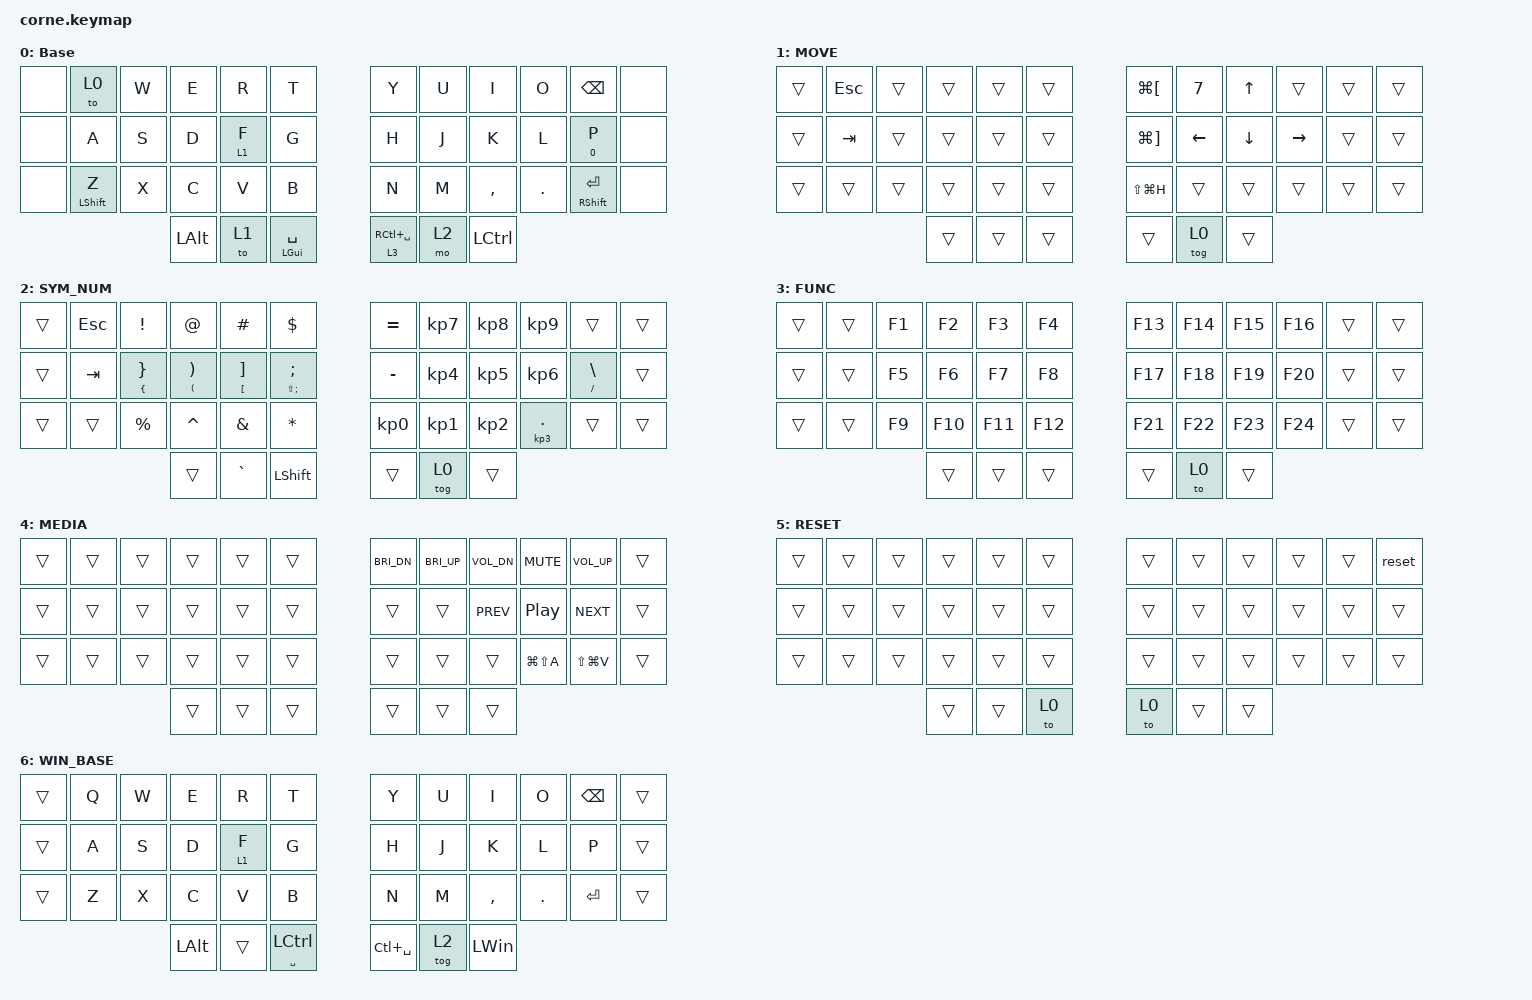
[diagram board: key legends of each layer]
/*
 * Copyright (c) 2020 The ZMK Contributors
 *
 * SPDX-License-Identifier: MIT
 */

#include <behaviors.dtsi>
#include <dt-bindings/zmk/keys.h>

/ {
    behaviors {
        TT: TT {
            compatible = "zmk,behavior-hold-tap";
            label = "TT";
            bindings =
                <&kp>,
                <&kp>;

            #binding-cells = <2>;
            hold-trigger-on-release;
            retro-tap;
            flavor = "tap-preferred";
        };
    };

    keymap {
        compatible = "zmk,keymap";

        Base {
            // -----------------------------------------------------------------------------------------
            // |  TAB |  Q  |  W  |  E  |  R  |  T  |   |  Y  |  U   |  I  |  O  |  P  | BKSP |
            // | CTRL |  A  |  S  |  D  |  F  |  G  |   |  H  |  J   |  K  |  L  |  ;  |  '   |
            // | SHFT |  Z  |  X  |  C  |  V  |  B  |   |  N  |  M   |  ,  |  .  |  /  | ESC  |
            //                    | GUI | LWR | SPC |   | ENT | RSE  | ALT |

            bindings = <
&none             &to 0  &kp W         &kp E    &kp R               &kp T              &kp Y  &kp U      &kp I    &kp O          &kp BACKSPACE  &none
&none             &kp A  &kp S         &kp D  &lt 1 F               &kp G              &kp H  &kp J      &kp K    &kp L                &mt 0 P  &none
&none  &mt LEFT_SHIFT Z  &kp X         &kp C    &kp V               &kp B              &kp N  &kp M  &kp COMMA  &kp DOT  &mt RIGHT_SHIFT ENTER  &none
                                &kp LEFT_ALT    &to 1  &mt LEFT_GUI SPACE    &lt 3 RC(SPACE)  &mo 2  &kp LCTRL
            >;
        };

        MOVE {
            // -----------------------------------------------------------------------------------------
            // |  TAB |  1  |  2  |  3  |  4  |  5  |   |  6  |  7  |  8  |  9  |  0  | BKSP |
            // | BTCLR| BT1 | BT2 | BT3 | BT4 | BT5 |   | LFT | DWN |  UP | RGT |     |      |
            // | SHFT |     |     |     |     |     |   |     |     |     |     |     |      |
            //                    | GUI |     | SPC |   | ENT |     | ALT |

            bindings = <
&trans  &kp ESC  &trans  &trans  &trans  &trans     &kp LG(LEFT_BRACKET)    &kp N7  &kp UP_ARROW     &trans  &trans  &trans
&trans  &kp TAB  &trans  &trans  &trans  &trans    &kp LG(RIGHT_BRACKET)  &kp LEFT      &kp DOWN  &kp RIGHT  &trans  &trans
&trans   &trans  &trans  &trans  &trans  &trans            &kp LS(LG(H))    &trans        &trans     &trans  &trans  &trans
                         &trans  &trans  &trans                   &trans    &tog 0        &trans
            >;
        };

        SYM_NUM {
            // -----------------------------------------------------------------------------------------
            // |  TAB |  !  |  @  |  #  |  $  |  %  |   |  ^  |  &  |  *  |  (  |  )  | BKSP |
            // | CTRL |     |     |     |     |     |   |  -  |  =  |  [  |  ]  |  \  |  `   |
            // | SHFT |     |     |     |     |     |   |  _  |  +  |  {  |  }  | "|" |  ~   |
            //                    | GUI |     | SPC |   | ENT |     | ALT |

            bindings = <
&trans  &kp ESC                    &kp EXCL                                  &kp AT                        &kp HASH         &kp DOLLAR    &kp EQUAL  &kp KP_NUMBER_7  &kp KP_NUMBER_8         &kp KP_NUMBER_9               &trans  &trans
&trans  &kp TAB  &TT LEFT_BRACE RIGHT_BRACE  &TT LEFT_PARENTHESIS RIGHT_PARENTHESIS  &TT LEFT_BRACKET RIGHT_BRACKET  &TT LS(SEMI) SEMI    &kp MINUS  &kp KP_NUMBER_4  &kp KP_NUMBER_5         &kp KP_NUMBER_6  &TT SLASH BACKSLASH  &trans
&trans   &trans                 &kp PERCENT                               &kp CARET                        &kp AMPS          &kp ASTRK    &kp KP_N0  &kp KP_NUMBER_1  &kp KP_NUMBER_2  &TT KP_NUMBER_3 PERIOD               &trans  &trans
                                                                             &trans                       &kp GRAVE     &kp LEFT_SHIFT       &trans           &tog 0           &trans
            >;
        };

        FUNC {
            bindings = <
&trans  &trans  &kp F1   &kp F2   &kp F3   &kp F4    &kp F13  &kp F14  &kp F15  &kp F16  &trans  &trans
&trans  &trans  &kp F5   &kp F6   &kp F7   &kp F8    &kp F17  &kp F18  &kp F19  &kp F20  &trans  &trans
&trans  &trans  &kp F9  &kp F10  &kp F11  &kp F12    &kp F21  &kp F22  &kp F23  &kp F24  &trans  &trans
                         &trans   &trans   &trans     &trans    &to 0   &trans
            >;
        };

        MEDIA {
            bindings = <
&trans  &trans  &trans  &trans  &trans  &trans    &kp C_BRI_DN  &kp C_BRI_UP  &kp C_VOL_DN        &kp C_MUTE   &kp C_VOL_UP  &trans
&trans  &trans  &trans  &trans  &trans  &trans          &trans        &trans    &kp C_PREV  &kp C_PLAY_PAUSE     &kp C_NEXT  &trans
&trans  &trans  &trans  &trans  &trans  &trans          &trans        &trans        &trans     &kp LG(LS(A))  &kp LS(LG(V))  &trans
                        &trans  &trans  &trans          &trans        &trans        &trans
            >;
        };

        RESET {
            bindings = <
&trans  &trans  &trans  &trans  &trans  &trans    &trans  &trans  &trans  &trans  &trans  &reset
&trans  &trans  &trans  &trans  &trans  &trans    &trans  &trans  &trans  &trans  &trans  &trans
&trans  &trans  &trans  &trans  &trans  &trans    &trans  &trans  &trans  &trans  &trans  &trans
                        &trans  &trans   &to 0     &to 0  &trans  &trans
            >;
        };

        WIN_BASE {
            bindings = <
&trans  &kp Q  &kp W         &kp E    &kp R            &kp T            &kp Y   &kp U         &kp I       &kp O  &kp BACKSPACE  &trans
&trans  &kp A  &kp S         &kp D  &lt 1 F            &kp G            &kp H   &kp J         &kp K       &kp L          &kp P  &trans
&trans  &kp Z  &kp X         &kp C    &kp V            &kp B            &kp N   &kp M     &kp COMMA  &kp PERIOD      &kp ENTER  &trans
                      &kp LEFT_ALT   &trans  &TT SPACE LCTRL    &kp LC(SPACE)  &tog 2  &kp LEFT_WIN
            >;
        };
    };
};
